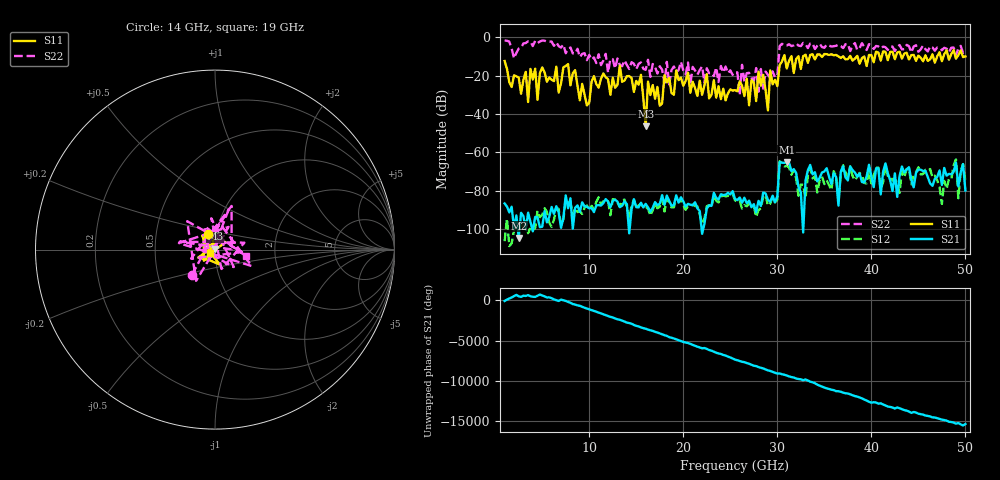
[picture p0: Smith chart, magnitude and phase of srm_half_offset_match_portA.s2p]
# GHz S RI R 50.0
!freq ReS11 ImS11 ReS21 ImS21 ReS12 ImS12 ReS22 ImS22
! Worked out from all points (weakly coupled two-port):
!   197 points, 1 GHz to 50 GHz, reference 50 ohm
!   highest |S21| = -65.08 dB at 31 GHz (marker M1); lowest = -104.7 dB at 2.5 GHz (marker M2)
!   lowest |S11| = -46.5 dB at 16 GHz (marker M3), VSWR 1.01, Z = 49.9 + j0.465 ohm
!   |S11| at or under -10 dB: start of sweep to 30.69 GHz; 30.78 GHz to 31.48 GHz (703.2 MHz wide, 2.26 % of centre); 38.52 GHz to 39.71 GHz (1.194 GHz wide, 3.05 % of centre) (the widest 3 of 25)
!   |S22| runs from -30.2 to -1.6 dB; largest |S21 - S12| = 0.001
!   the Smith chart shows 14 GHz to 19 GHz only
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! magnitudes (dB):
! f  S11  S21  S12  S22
! 1 GHz  -12.3  -86.7  -106.5  -1.6
! 2.5 GHz  -21.0  -104.7  -100.8  -5.9
! 9.25 GHz  -24.3  -86.1  -92.2  -8.6
! 15.5 GHz  -19.5  -86.4  -86.8  -13.1
! 16 GHz  -46.5  -87.0  -88.4  -16.9
! 16.25 GHz  -23.1  -88.7  -89.6  -11.7
! 17.5 GHz  -35.7  -86.9  -88.4  -15.1
! 19.25 GHz  -17.2  -82.5  -83.9  -18.2
! 25.5 GHz  -27.5  -84.3  -85.1  -18.1
! 26 GHz  -23.0  -83.6  -85.3  -30.2
! 27.75 GHz  -33.3  -91.3  -93.8  -16.0
! 28 GHz  -17.9  -85.4  -90.2  -28.4
! 29 GHz  -38.2  -84.8  -87.9  -19.5
! 29.25 GHz  -17.3  -85.9  -86.8  -21.0
! 31 GHz  -16.2  -65.1  -67.1  -4.3
! 33.75 GHz  -8.8  -71.5  -73.6  -3.1
! 42 GHz  -7.6  -74.6  -72.6  -4.9
! 47.5 GHz  -12.4  -77.1  -87.0  -6.7
! 49 GHz  -11.1  -65.4  -63.7  -9.4
! 49.25 GHz  -9.3  -77.9  -84.0  -5.7
! 49.75 GHz  -10.3  -66.2  -66.1  -8.1
! 50 GHz  -9.9  -80.0  -75.2  -7.0
